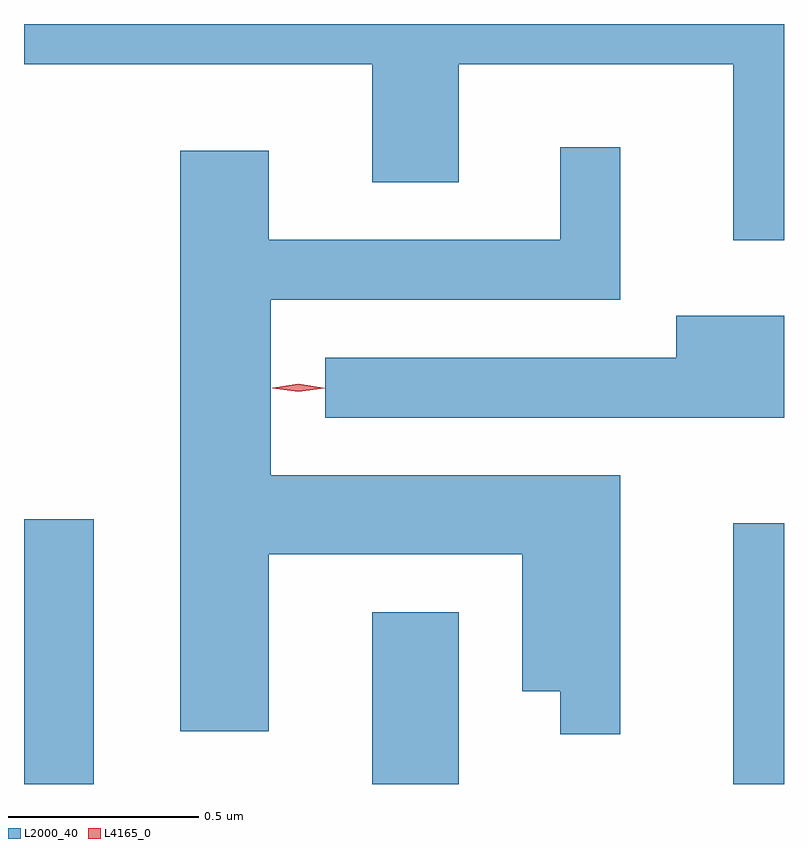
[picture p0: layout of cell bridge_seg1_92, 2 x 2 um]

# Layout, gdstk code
import gdstk
lib = gdstk.Library(unit=1e-6, precision=1e-09)
def R(c, l, rs):  # rectangles x0, y0, x1, y1
    for r in rs: c.add(gdstk.rectangle(r[:2], r[2:], *l))
def P(c, l, *ps):  # polygons
    for p in ps: c.add(gdstk.Polygon(p, *l))
L2000_40 = (2000, 40)
L4165_0 = (4165, 0)

bridge_seg1_92 = lib.new_cell('bridge_seg1_92')
R(bridge_seg1_92, L2000_40, [(1207.595,950.962,1207.779,951.659), (1208.511,950.962,1208.739,951.414), (1209.461,950.962,1209.595,951.648)])
P(bridge_seg1_92, L2000_40, [(1209.595,952.962),(1207.595,952.962),(1207.595,952.856),(1208.511,952.856),(1208.511,952.546),(1208.739,952.546),(1208.739,952.856),(1209.461,952.856),(1209.461,952.393),(1209.595,952.393)],
  [(1209.164,951.774),(1208.244,951.774),(1208.244,952.236),(1209.164,952.236),(1209.164,952.638),(1209.006,952.638),(1209.006,952.394),(1208.239,952.394),(1208.239,952.629),(1208.006,952.629),(1208.006,951.101),(1208.239,951.101),(1208.239,951.566),(1208.906,951.566),(1208.906,951.206),(1209.006,951.206),(1209.006,951.093),(1209.164,951.093)],
  [(1209.595,952.194),(1209.311,952.194),(1209.311,952.084),(1208.388,952.084),(1208.388,951.926),(1209.595,951.926)])
P(bridge_seg1_92, L4165_0, [(1208.317,951.994),(1208.248,952.003),(1208.247,952.004),(1208.248,952.004),(1208.317,952.014),(1208.386,952.004),(1208.386,952.004),(1208.386,952.003)],
  [(1208.317,951.995),(1208.251,952.004),(1208.25,952.005),(1208.251,952.005),(1208.317,952.015),(1208.382,952.005),(1208.383,952.005),(1208.382,952.004)])

lib.write_gds('bridge_seg1_92.gds')
